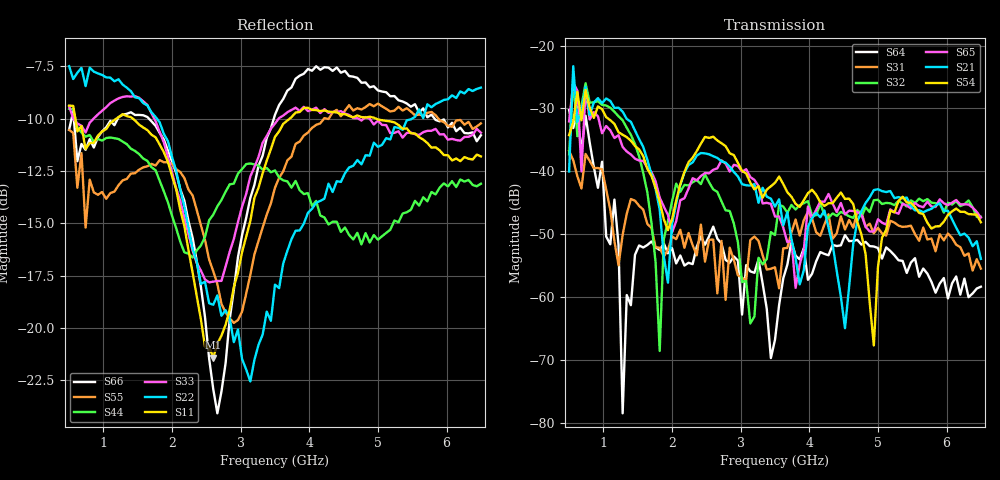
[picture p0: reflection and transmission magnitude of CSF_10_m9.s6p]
!Keysight Technologies,M9804A,MY58100912,A.14.10.03
!Date: Thursday, April 27, 2023 10:28:33
!Correction: S11(C  6-Port  )
!S12(C  6-Port  )
!S13(C  6-Port  )
!S14(C  6-Port  )
!S15(C  6-Port  )
!S16(C  6-Port  )
!S21(C  6-Port  )
!S22(C  6-Port  )
!S23(C  6-Port  )
!S24(C  6-Port  )
!S25(C  6-Port  )
!S26(C  6-Port  )
!S31(C  6-Port  )
!S32(C  6-Port  )
!S33(C  6-Port  )
!S34(C  6-Port  )
!S35(C  6-Port  )
!S36(C  6-Port  )
!S41(C  6-Port  )
!S42(C  6-Port  )
!S43(C  6-Port  )
!S44(C  6-Port  )
!S45(C  6-Port  )
!S46(C  6-Port  )
!S51(C  6-Port  )
!S52(C  6-Port  )
!S53(C  6-Port  )
!S54(C  6-Port  )
!S55(C  6-Port  )
!S56(C  6-Port  )
!S61(C  6-Port  )
!S62(C  6-Port  )
!S63(C  6-Port  )
!S64(C  6-Port  )
!S65(C  6-Port  )
!S66(C  6-Port  )
!S6P File: Measurement: :
# Hz S  RI  R 50
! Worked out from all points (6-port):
!   101 points, 500 MHz to 6.5 GHz, reference 50 ohm
!   strongest paths, dB at 500 MHz, 2 GHz, 3.5 GHz, 5 GHz, 6.5 GHz:
!     S54: -34.2, -47.6, -41.8, -55.3, -48.1
!     S21: -40.0, -48.4, -45.6, -42.9, -53.9
!     S65: -32.1, -49.7, -47.2, -47.6, -47.4
!     S32: -37.3, -44.8, -50.2, -44.5, -47.2
!     S31: -36.8, -50.4, -55.3, -49.0, -55.5
!     S64: -30.3, -52.3, -66.8, -52.2, -58.4
!   lowest |S11| = -21.4 dB at 2.6 GHz (marker M1), VSWR 1.19, Z = 42.5 + j2.21 ohm
!   |S11| at or under -10 dB: 590 MHz to 1.188 GHz (598 MHz wide, 67.3 % of centre); 1.428 GHz to 3.714 GHz (2.285 GHz wide, 88.9 % of centre); 4.973 GHz to end of sweep
